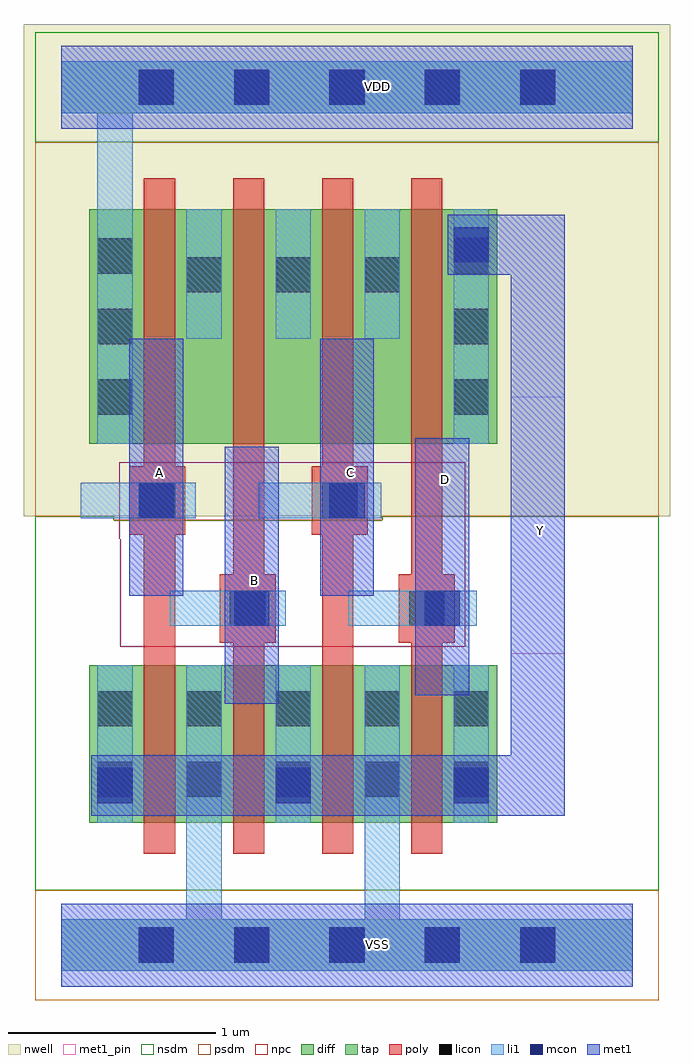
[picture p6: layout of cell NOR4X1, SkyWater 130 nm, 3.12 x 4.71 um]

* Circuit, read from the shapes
.subckt NOR4X1 A B C D VDD VSS Y
XM1 VSS A Y VSS sky130_fd_pr__nfet_01v8 w=0.76 l=0.15
XM2 Y B VSS VSS sky130_fd_pr__nfet_01v8 w=0.76 l=0.15
XM3 VSS C Y VSS sky130_fd_pr__nfet_01v8 w=0.76 l=0.15
XM4 Y D VSS VSS sky130_fd_pr__nfet_01v8 w=0.76 l=0.15
XM5 n1 A VDD VDD sky130_fd_pr__pfet_01v8 w=1.13 l=0.15
XM6 n2 B n1 VDD sky130_fd_pr__pfet_01v8 w=1.13 l=0.15
XM7 n3 C n2 VDD sky130_fd_pr__pfet_01v8 w=1.13 l=0.15
XM8 Y D n3 VDD sky130_fd_pr__pfet_01v8 w=1.13 l=0.15
.ends

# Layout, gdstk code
from math import pi, radians
import gdstk
lib = gdstk.Library(unit=1e-6, precision=1e-09)
def R(c, l, rs):  # rectangles x0, y0, x1, y1
    for r in rs: c.add(gdstk.rectangle(r[:2], r[2:], *l))
def A(c, l, x, y, w, h, nx, ny, dx, dy):  # array of equal rectangles
    R(c, l, [(x+i*dx, y+j*dy, x+i*dx+w, y+j*dy+h) for i in range(nx) for j in range(ny)])
def P(c, l, *ps):  # polygons
    for p in ps: c.add(gdstk.Polygon(p, *l))
nwell = (64, 20)
diff = (65, 20)
tap = (65, 44)
poly = (66, 20)
licon = (66, 44)
li1 = (67, 20)
mcon = (67, 44)
met1_pin = (68, 16)
met1 = (68, 20)
nsdm = (93, 44)
psdm = (94, 20)
npc = (95, 20)

pfet_01v8_cdns_716492285 = lib.new_cell('pfet_01v8_CDNS_716492285224')
R(pfet_01v8_cdns_716492285, nwell, [(-0.235,-0.18,0.595,1.31)])
R(pfet_01v8_cdns_716492285, diff, [(-0.055,0,0,1.13), (0,0,0.15,1.13), (0.15,0,0.415,1.13)])
R(pfet_01v8_cdns_716492285, poly, [(0,-0.15,0.15,-0.095), (0,-0.095,0.15,0), (0,0,0.15,1.13), (0,1.13,0.15,1.225), (0,1.225,0.15,1.28)])
A(pfet_01v8_cdns_716492285, licon, 0.205, 0.14, 0.17, 0.17, 1, 3, 0, 0.34)
R(pfet_01v8_cdns_716492285, li1, [(0.205,0,0.375,1.13)])
R(pfet_01v8_cdns_716492285, psdm, [(-0.065,-0.13,0.555,1.26)])

nfet_01v8_cdns_716492285 = lib.new_cell('nfet_01v8_CDNS_71649228522156')
R(nfet_01v8_cdns_716492285, diff, [(-0.265,0,0,0.76), (0,0,0.15,0.76), (0.15,0,0.375,0.76)])
R(nfet_01v8_cdns_716492285, poly, [(0,-0.15,0.15,-0.095), (0,-0.095,0.15,0), (0,0,0.15,0.76), (0,0.76,0.15,0.855), (0,0.855,0.15,0.91)])
R(nfet_01v8_cdns_716492285, licon, [(-0.225,0.125,-0.055,0.295), (0.205,0.125,0.375,0.295), (-0.225,0.465,-0.055,0.635), (0.205,0.465,0.375,0.635)])
R(nfet_01v8_cdns_716492285, li1, [(-0.225,0,-0.055,0.76), (0.205,0,0.375,0.76)])
R(nfet_01v8_cdns_716492285, nsdm, [(-0.405,-0.13,0.385,0.89)])

c_nfet_01v8_cdns_716492285 = lib.new_cell('nfet_01v8_CDNS_7164922852272')
R(c_nfet_01v8_cdns_716492285, diff, [(-0.225,0,0,0.76), (0,0,0.15,0.76), (0.15,0,0.205,0.76)])
R(c_nfet_01v8_cdns_716492285, poly, [(0,-0.15,0.15,-0.095), (0,-0.095,0.15,0), (0,0,0.15,0.76), (0,0.76,0.15,0.855), (0,0.855,0.15,0.91)])
R(c_nfet_01v8_cdns_716492285, licon, [(-0.225,0.125,-0.055,0.295), (-0.225,0.465,-0.055,0.635)])
R(c_nfet_01v8_cdns_716492285, li1, [(-0.225,0,-0.055,0.76)])
R(c_nfet_01v8_cdns_716492285, nsdm, [(-0.235,-0.13,0.215,0.89)])

c_pfet_01v8_cdns_716492285 = lib.new_cell('pfet_01v8_CDNS_71649228522128')
R(c_pfet_01v8_cdns_716492285, nwell, [(-0.445,-0.18,0.385,1.31)])
R(c_pfet_01v8_cdns_716492285, diff, [(-0.265,0,0,1.13), (0,0,0.15,1.13), (0.15,0,0.205,1.13)])
R(c_pfet_01v8_cdns_716492285, poly, [(0,-0.15,0.15,-0.095), (0,-0.095,0.15,0), (0,0,0.15,1.13), (0,1.13,0.15,1.225), (0,1.225,0.15,1.28)])
A(c_pfet_01v8_cdns_716492285, licon, -0.225, 0.14, 0.17, 0.17, 1, 3, 0, 0.34)
R(c_pfet_01v8_cdns_716492285, li1, [(-0.225,0,-0.055,1.13)])
R(c_pfet_01v8_cdns_716492285, psdm, [(-0.405,-0.13,0.215,1.26)])

c_pfet_01v8_cdns_716492285_ = lib.new_cell('pfet_01v8_CDNS_71649228522133')
R(c_pfet_01v8_cdns_716492285_, nwell, [(-0.405,-0.18,0.385,1.31)])
R(c_pfet_01v8_cdns_716492285_, diff, [(-0.225,0,0,1.13), (0,0,0.15,1.13), (0.15,0,0.205,1.13)])
R(c_pfet_01v8_cdns_716492285_, poly, [(0,-0.15,0.15,-0.095), (0,-0.095,0.15,0), (0,0,0.15,1.13), (0,1.13,0.15,1.225), (0,1.225,0.15,1.28)])
R(c_pfet_01v8_cdns_716492285_, psdm, [(-0.235,-0.13,0.215,1.26)])

c_nfet_01v8_cdns_716492285_ = lib.new_cell('nfet_01v8_CDNS_716492285223')
R(c_nfet_01v8_cdns_716492285_, diff, [(-0.055,0,0,0.76), (0,0,0.15,0.76), (0.15,0,0.415,0.76)])
R(c_nfet_01v8_cdns_716492285_, poly, [(0,-0.15,0.15,-0.095), (0,-0.095,0.15,0), (0,0,0.15,0.76), (0,0.76,0.15,0.855), (0,0.855,0.15,0.91)])
R(c_nfet_01v8_cdns_716492285_, licon, [(0.205,0.125,0.375,0.295), (0.205,0.465,0.375,0.635)])
R(c_nfet_01v8_cdns_716492285_, li1, [(0.205,0,0.375,0.76)])
R(c_nfet_01v8_cdns_716492285_, nsdm, [(-0.065,-0.13,0.555,0.89)])

c_nfet_01v8_cdns_716492285__ = lib.new_cell('nfet_01v8_CDNS_71649228522127')
R(c_nfet_01v8_cdns_716492285__, diff, [(-0.055,0,0,0.76), (0,0,0.15,0.76), (0.15,0,0.375,0.76)])
R(c_nfet_01v8_cdns_716492285__, poly, [(0,-0.15,0.15,-0.095), (0,-0.095,0.15,0), (0,0,0.15,0.76), (0,0.76,0.15,0.855), (0,0.855,0.15,0.91)])
R(c_nfet_01v8_cdns_716492285__, licon, [(0.205,0.125,0.375,0.295), (0.205,0.465,0.375,0.635)])
R(c_nfet_01v8_cdns_716492285__, li1, [(0.205,0,0.375,0.76)])
R(c_nfet_01v8_cdns_716492285__, nsdm, [(-0.065,-0.13,0.385,0.89)])

c_pfet_01v8_cdns_716492285__ = lib.new_cell('pfet_01v8_CDNS_71649228522157')
R(c_pfet_01v8_cdns_716492285__, nwell, [(-0.405,-0.18,0.555,1.31)])
R(c_pfet_01v8_cdns_716492285__, diff, [(-0.225,0,0,1.13), (0,0,0.15,1.13), (0.15,0,0.375,1.13)])
R(c_pfet_01v8_cdns_716492285__, poly, [(0,-0.15,0.15,-0.095), (0,-0.095,0.15,0), (0,0,0.15,1.13), (0,1.13,0.15,1.225), (0,1.225,0.15,1.28)])
R(c_pfet_01v8_cdns_716492285__, psdm, [(-0.235,-0.13,0.385,1.26)])

licondiff_c_cdns_7164922 = lib.new_cell('LICONDIFF_C_CDNS_7164922852213')
R(licondiff_c_cdns_7164922, diff, [(-0.125,-0.145,0.125,0.145)])
R(licondiff_c_cdns_7164922, licon, [(-0.085,-0.085,0.085,0.085), (-0.085,-0.085,0.085,0.085)])

l1m1_c_cdns_716492285223 = lib.new_cell('L1M1_C_CDNS_716492285223')
R(l1m1_c_cdns_716492285223, li1, [(-0.165,-0.085,0.165,0.085)])
R(l1m1_c_cdns_716492285223, mcon, [(-0.085,-0.085,0.085,0.085)])
R(l1m1_c_cdns_716492285223, met1, [(-0.115,-0.145,0.115,0.145)])

l1m1_c_cdns_716492285222 = lib.new_cell('L1M1_C_CDNS_716492285222')
R(l1m1_c_cdns_716492285222, li1, [(-0.085,-0.165,0.085,0.165)])
R(l1m1_c_cdns_716492285222, mcon, [(-0.085,-0.085,0.085,0.085)])
R(l1m1_c_cdns_716492285222, met1, [(-0.115,-0.145,0.115,0.145)])

pyl1con_c_cdns_716492285 = lib.new_cell('PYL1CON_C_CDNS_716492285220')
R(pyl1con_c_cdns_716492285, poly, [(-0.135,-0.165,0.135,0.165)])
R(pyl1con_c_cdns_716492285, licon, [(-0.085,-0.085,0.085,0.085)])
R(pyl1con_c_cdns_716492285, npc, [(-0.185,-0.185,0.185,0.185)])

nor4x1 = lib.new_cell('NOR4X1')
R(nor4x1, nwell, [(-0.18,2.07,2.94,4.305), (-0.18,3.875,2.94,4.445)])
A(nor4x1, licon, 0.375, -0.085, 0.17, 0.17, 5, 1, 0.46, 0)
R(nor4x1, licon, [(0.375,4.055,0.545,4.225), (0.375,4.055,0.545,4.225), (0.835,4.055,1.005,4.225), (0.835,4.055,1.005,4.225), (1.295,4.055,1.465,4.225), (1.295,4.055,1.465,4.225), (1.755,4.055,1.925,4.225), (1.755,4.055,1.925,4.225), (2.215,4.055,2.385,4.225), (2.215,4.055,2.385,4.225)])
A(nor4x1, mcon, 0.375, -0.085, 0.17, 0.17, 5, 1, 0.46, 0)
R(nor4x1, mcon, [(0.375,4.055,0.545,4.225), (0.375,4.055,0.545,4.225), (0.835,4.055,1.005,4.225), (0.835,4.055,1.005,4.225), (1.295,4.055,1.465,4.225), (1.295,4.055,1.465,4.225), (1.755,4.055,1.925,4.225), (1.755,4.055,1.925,4.225), (2.215,4.055,2.385,4.225), (2.215,4.055,2.385,4.225)])
R(nor4x1, met1_pin, [(0.79,1.165,1.05,2.405), (1.71,1.205,1.97,2.445), (2.17,1.405,2.43,2.645), (0.33,1.685,0.59,2.925), (1.25,1.685,1.51,2.925)])
R(nor4x1, nsdm, [(-0.125,3.875,2.885,4.405), (-0.125,3.875,2.885,4.405), (-0.125,3.93,2.885,4.35), (-0.125,3.93,2.885,4.35)])
P(nor4x1, nsdm, [(2.885,2.07),(1.55,2.07),(1.55,2.05),(0.255,2.05),(0.255,2.07),(-0.125,2.07),(-0.125,0.265),(2.885,0.265)])
R(nor4x1, psdm, [(-0.125,-0.265,2.885,0.265), (-0.125,-0.21,2.885,0.21)])
P(nor4x1, psdm, [(2.885,3.875),(-0.125,3.875),(-0.125,2.07),(0.255,2.07),(0.255,2.05),(1.55,2.05),(1.55,2.07),(2.885,2.07)])
R(nor4x1, npc, [(0.285,1.44,1.95,2.33)])
nor4x1.add(gdstk.FlexPath([(1.765,2.27),(1.765,1.5)], 0.15, ends="flush", simple_path=True, layer=66, datatype=20))  # poly
nor4x1.add(gdstk.FlexPath([(1.335,2.27),(1.335,1.5)], 0.15, ends="flush", simple_path=True, layer=66, datatype=20))  # poly
nor4x1.add(gdstk.FlexPath([(0.905,2.27),(0.905,1.5)], 0.15, ends="flush", simple_path=True, layer=66, datatype=20))  # poly
nor4x1.add(gdstk.FlexPath([(0.475,2.27),(0.475,1.5)], 0.15, ends="flush", simple_path=True, layer=66, datatype=20))  # poly
nor4x1.add(gdstk.FlexPath([(1.385,1.625),(1.945,1.625)], 0.17, ends="flush", simple_path=True, layer=67, datatype=20))  # li1
nor4x1.add(gdstk.FlexPath([(1.55,2.925),(1.55,3.55)], 0.17, ends="flush", simple_path=True, layer=67, datatype=20))  # li1
nor4x1.add(gdstk.FlexPath([(0.095,2.145),(0.65,2.145)], 0.17, ends="flush", simple_path=True, layer=67, datatype=20))  # li1
nor4x1.add(gdstk.FlexPath([(0.955,2.145),(1.51,2.145)], 0.17, ends="flush", simple_path=True, layer=67, datatype=20))  # li1
nor4x1.add(gdstk.FlexPath([(0.525,1.625),(1.08,1.625)], 0.17, ends="flush", simple_path=True, layer=67, datatype=20))  # li1
nor4x1.add(gdstk.FlexPath([(1.12,2.925),(1.12,3.55)], 0.17, ends="flush", simple_path=True, layer=67, datatype=20))  # li1
nor4x1.add(gdstk.FlexPath([(0.69,2.925),(0.69,3.55)], 0.17, ends="flush", simple_path=True, layer=67, datatype=20))  # li1
nor4x1.add(gdstk.FlexPath([(2.675,0),(0,0)], 0.25, ends=(0.085, 0), simple_path=True, layer=67, datatype=20))  # li1
nor4x1.add(gdstk.FlexPath([(2.675,4.14),(0,4.14)], 0.25, ends=(0.085, 0), simple_path=True, layer=67, datatype=20))  # li1
nor4x1.add(gdstk.FlexPath([(2.675,4.14),(0,4.14)], 0.25, ends=(0.085, 0), simple_path=True, layer=67, datatype=20))  # li1
nor4x1.add(gdstk.FlexPath([(1.55,0),(0.69,0)], 0.17, ends="extended", simple_path=True, layer=67, datatype=20))  # li1
nor4x1.add(gdstk.FlexPath([(1.55,0.59),(1.55,0)], 0.17, ends=(0, 0.085), simple_path=True, layer=67, datatype=20))  # li1
nor4x1.add(gdstk.FlexPath([(0.69,0.59),(0.69,0)], 0.17, ends=(0, 0.085), simple_path=True, layer=67, datatype=20))  # li1
nor4x1.add(gdstk.FlexPath([(0.26,3.55),(0.26,4.14)], 0.17, ends=(0, 0.085), simple_path=True, layer=67, datatype=20))  # li1
nor4x1.add(gdstk.FlexPath([(0.26,4.14),(0.215,4.14)], 0.17, ends=(0.085, 0), simple_path=True, layer=67, datatype=20))  # li1
nor4x1.add(gdstk.FlexPath([(0,0),(2.76,0)], 0.25, ends="flush", simple_path=True, layer=65, datatype=44))  # tap
nor4x1.add(gdstk.FlexPath([(0,4.14),(2.76,4.14)], 0.25, ends="flush", simple_path=True, layer=65, datatype=44))  # tap
nor4x1.add(gdstk.FlexPath([(0,4.14),(2.76,4.14)], 0.25, ends="flush", simple_path=True, layer=65, datatype=44))  # tap
nor4x1.add(gdstk.FlexPath([(1.38,1.685),(1.38,2.925)], 0.26, ends="flush", simple_path=True, layer=68, datatype=20))  # met1
nor4x1.add(gdstk.FlexPath([(2.3,3.38),(1.98,3.38)], 0.29, ends=(0, 0.115), simple_path=True, layer=68, datatype=20))  # met1
nor4x1.add(gdstk.FlexPath([(1.84,1.205),(1.84,2.445)], 0.26, ends="flush", simple_path=True, layer=68, datatype=20))  # met1
nor4x1.add(gdstk.FlexPath([(0.46,1.685),(0.46,2.925)], 0.26, ends="flush", simple_path=True, layer=68, datatype=20))  # met1
nor4x1.add(gdstk.FlexPath([(0.26,0.77),(2.3,0.77)], 0.29, ends="flush", simple_path=True, layer=68, datatype=20))  # met1
nor4x1.add(gdstk.FlexPath([(0.92,1.165),(0.92,2.405)], 0.26, ends="flush", simple_path=True, layer=68, datatype=20))  # met1
nor4x1.add(gdstk.FlexPath([(2.3,3.525),(2.3,0.625)], 0.26, ends="flush", simple_path=True, layer=68, datatype=20))  # met1
nor4x1.add(gdstk.FlexPath([(0,0),(2.76,0)], 0.4, ends="flush", simple_path=True, layer=68, datatype=20))  # met1
nor4x1.add(gdstk.FlexPath([(0,4.14),(2.76,4.14)], 0.4, ends="flush", simple_path=True, layer=68, datatype=20))  # met1
nor4x1.add(gdstk.FlexPath([(0,0),(2.76,0)], 0.4, ends="flush", simple_path=True, layer=68, datatype=16))  # met1_pin
nor4x1.add(gdstk.FlexPath([(0,4.14),(2.76,4.14)], 0.4, ends="flush", simple_path=True, layer=68, datatype=16))  # met1_pin
nor4x1.add(gdstk.FlexPath([(0,4.14),(2.76,4.14)], 0.4, ends="flush", simple_path=True, layer=68, datatype=16))  # met1_pin
nor4x1.add(gdstk.Reference(pfet_01v8_cdns_716492285, (1.69,2.42)))
nor4x1.add(gdstk.Reference(nfet_01v8_cdns_716492285, (0.4,0.59)))
nor4x1.add(gdstk.Reference(c_nfet_01v8_cdns_716492285, (1.41,0.59), rotation=pi, x_reflection=True))
nor4x1.add(gdstk.Reference(c_pfet_01v8_cdns_716492285, (0.4,2.42)))
nor4x1.add(gdstk.Reference(c_pfet_01v8_cdns_716492285_, (1.41,2.42), rotation=pi, x_reflection=True))
nor4x1.add(gdstk.Reference(c_nfet_01v8_cdns_716492285_, (1.69,0.59)))
nor4x1.add(gdstk.Reference(c_nfet_01v8_cdns_716492285__, (0.83,0.59)))
nor4x1.add(gdstk.Reference(c_pfet_01v8_cdns_716492285__, (0.83,2.42)))
nor4x1.add(gdstk.Reference(licondiff_c_cdns_7164922, (1.55,3.235)))
nor4x1.add(gdstk.Reference(licondiff_c_cdns_7164922, (0.69,3.235)))
nor4x1.add(gdstk.Reference(licondiff_c_cdns_7164922, (1.12,3.235)))
nor4x1.add(gdstk.Reference(l1m1_c_cdns_716492285223, (1.84,1.625), x_reflection=True))
nor4x1.add(gdstk.Reference(l1m1_c_cdns_716492285223, (0.92,1.625), x_reflection=True))
nor4x1.add(gdstk.Reference(l1m1_c_cdns_716492285223, (1.38,2.145), x_reflection=True))
nor4x1.add(gdstk.Reference(l1m1_c_cdns_716492285223, (0.46,2.145), x_reflection=True))
nor4x1.add(gdstk.Reference(l1m1_c_cdns_716492285222, (0.26,0.77)))
nor4x1.add(gdstk.Reference(l1m1_c_cdns_716492285222, (1.98,3.38)))
nor4x1.add(gdstk.Reference(l1m1_c_cdns_716492285222, (1.98,0.77)))
nor4x1.add(gdstk.Reference(l1m1_c_cdns_716492285222, (1.12,0.77)))
nor4x1.add(gdstk.Reference(pyl1con_c_cdns_716492285, (1.765,1.625)))
nor4x1.add(gdstk.Reference(pyl1con_c_cdns_716492285, (1.345,2.145)))
nor4x1.add(gdstk.Reference(pyl1con_c_cdns_716492285, (0.9,1.625)))
nor4x1.add(gdstk.Reference(pyl1con_c_cdns_716492285, (0.465,2.145), rotation=pi, x_reflection=True))
nor4x1.add(gdstk.Label('VSS', (1.525,0.005), layer=68, texttype=5))
nor4x1.add(gdstk.Label('VDD', (1.525,4.145), layer=68, texttype=5))
nor4x1.add(gdstk.Label('VDD', (1.525,4.145), layer=68, texttype=5))
nor4x1.add(gdstk.Label('Y', (2.315,2), layer=68, texttype=5))
nor4x1.add(gdstk.Label('C', (1.395,2.28), layer=68, texttype=5))
nor4x1.add(gdstk.Label('B', (0.935,1.76), layer=68, texttype=5))
nor4x1.add(gdstk.Label('D', (1.855,2.245), layer=68, texttype=5))
nor4x1.add(gdstk.Label('A', (0.475,2.28), layer=68, texttype=5))

lib.write_gds('NOR4X1.gds')
